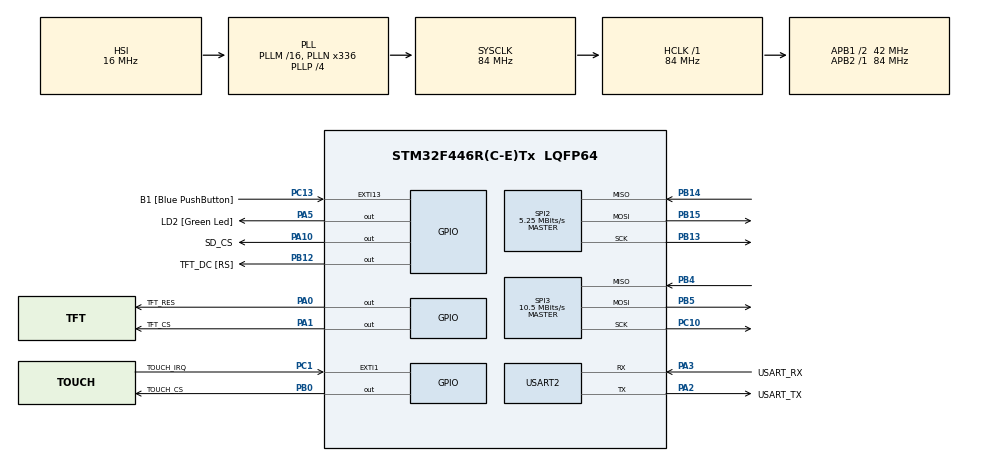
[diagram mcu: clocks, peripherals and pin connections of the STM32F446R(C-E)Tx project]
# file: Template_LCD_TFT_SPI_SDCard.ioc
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FATFS._MAX_SS=4096
FATFS._USE_LFN=1
Mcu.Family=STM32F4
Mcu.Name=STM32F446R(C-E)Tx
Mcu.Package=LQFP64
NVIC.PriorityGroup=NVIC_PRIORITYGROUP_0
PA0-WKUP.GPIO_Label=TFT_RES
PA0-WKUP.Signal=GPIO_Output
PA1.GPIO_Label=TFT_CS
PA1.GPIO_Speed=GPIO_SPEED_FREQ_HIGH
PA1.PinState=GPIO_PIN_SET
PA1.Signal=GPIO_Output
PA10.GPIO_Label=SD_CS
PA10.GPIO_Speed=GPIO_SPEED_FREQ_MEDIUM
PA10.PinState=GPIO_PIN_SET
PA10.Signal=GPIO_Output
PA13.GPIO_Label=TMS
PA13.Mode=Serial_Wire
PA13.Signal=SYS_JTMS-SWDIO
PA14.GPIO_Label=TCK
PA14.Mode=Serial_Wire
PA14.Signal=SYS_JTCK-SWCLK
PA2.GPIO_Label=USART_TX
PA2.Mode=Asynchronous
PA2.Signal=USART2_TX
PA3.GPIO_Label=USART_RX
PA3.Mode=Asynchronous
PA3.Signal=USART2_RX
PA5.GPIO_Label=LD2 [Green Led]
PA5.Signal=GPIO_Output
PB0.GPIO_Label=TOUCH_CS
PB0.GPIO_Speed=GPIO_SPEED_FREQ_HIGH
PB0.PinState=GPIO_PIN_SET
PB0.Signal=GPIO_Output
PB12.GPIO_Label=TFT_DC [RS]
PB12.GPIO_Speed=GPIO_SPEED_FREQ_HIGH
PB12.Signal=GPIO_Output
PB13.Mode=Full_Duplex_Master
PB13.Signal=SPI2_SCK
PB14.Mode=Full_Duplex_Master
PB14.Signal=SPI2_MISO
PB15.Mode=Full_Duplex_Master
PB15.Signal=SPI2_MOSI
PB4.Mode=Full_Duplex_Master
PB4.Signal=SPI3_MISO
PB5.Mode=Full_Duplex_Master
PB5.Signal=SPI3_MOSI
PC1.GPIO_Label=TOUCH_IRQ
PC1.Signal=GPXTI1
PC10.Mode=Full_Duplex_Master
PC10.Signal=SPI3_SCK
PC13.GPIO_Label=B1 [Blue PushButton]
PC13.GPIO_ModeDefaultEXTI=GPIO_MODE_IT_FALLING
PC13.Signal=GPXTI13
PC14-OSC32_IN.Mode=LSE-External-Oscillator
PC14-OSC32_IN.Signal=RCC_OSC32_IN
PC15-OSC32_OUT.Mode=LSE-External-Oscillator
PC15-OSC32_OUT.Signal=RCC_OSC32_OUT
PH0-OSC_IN.Mode=HSE-External-Oscillator
PH0-OSC_IN.Signal=RCC_OSC_IN
PH1-OSC_OUT.Mode=HSE-External-Oscillator
PH1-OSC_OUT.Signal=RCC_OSC_OUT
ProjectManager.HeapSize=0x200
ProjectManager.StackSize=0x400
ProjectManager.TargetToolchain=STM32CubeIDE
RCC.48MHZClocksFreq_Value=84000000
RCC.AHBFreq_Value=84000000
RCC.APB1CLKDivider=RCC_HCLK_DIV2
RCC.APB1Freq_Value=42000000
RCC.APB1TimFreq_Value=84000000
RCC.APB2Freq_Value=84000000
RCC.APB2TimFreq_Value=84000000
RCC.CortexFreq_Value=84000000
RCC.FLatency-AdvancedSettings=FLASH_LATENCY_2
RCC.HCLKFreq_Value=84000000
RCC.HSE_VALUE=8000000
RCC.HSI_VALUE=16000000
RCC.PLLN=336
RCC.PLLP=RCC_PLLP_DIV4
RCC.SYSCLKFreq_VALUE=84000000
RCC.SYSCLKSource=RCC_SYSCLKSOURCE_PLLCLK
RCC.USBFreq_Value=168000000
RCC.VCOOutputFreq_Value=336000000
SPI2.BaudRatePrescaler=SPI_BAUDRATEPRESCALER_8
SPI2.CalculateBaudRate=5.25 MBits/s
SPI2.Direction=SPI_DIRECTION_2LINES
SPI2.Mode=SPI_MODE_MASTER
SPI2.VirtualType=VM_MASTER
SPI3.BaudRatePrescaler=SPI_BAUDRATEPRESCALER_4
SPI3.CalculateBaudRate=10.5 MBits/s
SPI3.Direction=SPI_DIRECTION_2LINES
SPI3.Mode=SPI_MODE_MASTER
SPI3.VirtualType=VM_MASTER
USART2.VirtualMode=VM_ASYNC
VP_FATFS_VS_Generic.Mode=User_defined
board=NUCLEO-F446RE

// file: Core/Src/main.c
/* USER CODE BEGIN Header */
/**
 ******************************************************************************
 * @file           : main.c
 * @brief          : Main program body
 ******************************************************************************
 * @attention
 *
 * Copyright (c) 2024 STMicroelectronics.
 * All rights reserved.
 *
 * This software is licensed under terms that can be found in the LICENSE file
 * in the root directory of this software component.
 * If no LICENSE file comes with this software, it is provided AS-IS.
 *
 ******************************************************************************
 */
/* USER CODE END Header */
#include "main.h"
#include "fatfs.h"

/* USER CODE BEGIN Includes */
#include <string.h>
#include <stdarg.h>
#include <stdio.h>	//sprintf
#include <tft_spi_dual_driver.h>
#include "touch_spi.h"
#include "fonts.h"

//Biblioteca de ajuste de funções para o SD Card (criada por terceiro)
#include "fatfs_sd.h"
/* USER CODE END Includes */

/* USER CODE BEGIN PD */
//Definição da porta SPI do display TFT

/* USER CODE END PD */

SPI_HandleTypeDef hspi2;
SPI_HandleTypeDef hspi3;

UART_HandleTypeDef huart2;

/* USER CODE BEGIN PV */
//Imagens BMP convertidas para RGB565
extern const uint8_t playmobil_240x240[57600];

FATFS fs0, fs1;		/* Work area (filesystem object) for logical drives */
FIL fsrc, fdst;		/* File objects */
BYTE buffer[4096];   /* File copy buffer */
FRESULT fr;		/* FatFs function common result code */
UINT br, bw;		/* File read/write count */
uint32_t first;
/* USER CODE END PV */

void SystemClock_Config(void);
static void MX_GPIO_Init(void);
static void MX_USART2_UART_Init(void);
static void MX_SPI2_Init(void);
static void MX_SPI3_Init(void);
/* USER CODE BEGIN PFP */
void tft_loop(void);
void touch_loop(void);
void tft_touch_testeToque(void);
void tft_testeDriver(void);
void LCD_TxBMP(unsigned char* data, unsigned int BitmapStart);
/* USER CODE END PFP */

/* USER CODE BEGIN 0 */
void init()
{
	//Atenção: neste exemplo o display TFT e o touch screen compartilham
	//a mesma porta SPI (SPI3: CLK-Arduino D3, MISO-Ard. D5 e MOSI-Ard. D4).
	//É recomendado que o clock do touch seja menor do que 1 MHz, porque ele
	//é usado para o CAD do chip controlador do touch XPT2046.
	//Isso implica na velocidade máxima do clock para o display.
	//Caso o touch não seja usado, o clock da interface SPI pode ser aumentado
	//até 10 MHz para escrita e 6,7 MHz para leitura considerando o driver
	//de LCD TFT ILI9341.
	//SP3 prescaler = 4 -> 10,5 MHz e 64 -> 656,25 kHz

	tft_unselect();				//Desativa CS do TFT
	touch_unselect();			//Desativa CS do touch
	tft_init();					//Inicializa o display TFT
}

/* USER CODE END 0 */

int main(void)
{

  /* USER CODE BEGIN 1 */
	int32_t i;
	int32_t size;
	char texto[40];
	char nome[40];
  /* USER CODE END 1 */

  /* MCU Configuration--------------------------------------------------------*/

  /* Reset of all peripherals, Initializes the Flash interface and the Systick. */
  HAL_Init();

  /* Configure the system clock */
  SystemClock_Config();

  /* Initialize all configured peripherals */
  MX_GPIO_Init();
  MX_USART2_UART_Init();
  MX_SPI2_Init();
  MX_SPI3_Init();
  MX_FATFS_Init();
  /* USER CODE BEGIN 2 */
  HAL_Delay(1000);
  init();	//Inicializa do TFT e o touch
  tft_setRotation(0);				//Ajusta a orientação da tela
  tft_fillScreen(BLACK);		//Preenche a tela em uma só cor
  //Mensagem de texto
  tft_printNewStr(20, YELLOW, &mono12x7bold, 1,
  							(uint8_t *)"Teste SD Card");

  //Colar os exemplos aqui-------------------------------------------

  //=================================================================
  //Exemplo de CRIAÇÃO e ESCRITA ====================================
  //=================================================================
//  size = sprintf(texto, "Exemplo de CRIACAO e ESCRITA\r\n");
//  HAL_UART_Transmit(&huart2, (uint8_t *)texto, size, 100);
//
//  //Prepara a área de trabalho para o FatFs
//  fr = f_mount(&fs0, "", 0);
//  if(fr != FR_OK)
//  {
//  	size = sprintf(texto, "f_mount error: %d\r\n", (int)fr);
//  	HAL_UART_Transmit(&huart2, (uint8_t *)texto, size, 100);
//
//  	tft_printNewStr(100, RED, &mono12x7bold, 1,
//  			(uint8_t *)"Falha!!!");
//  	return 1;
//  }
//
//  //Cria um arquivo
//  fr = f_open(&fsrc, "newfile.txt", FA_WRITE | FA_CREATE_ALWAYS);	/* Cria o arquivo */
//  if (fr == FR_OK)
//  {
//  	f_write(&fsrc, "Funcionou!\r\n", 11, &bw);	/* Escreve dados no arquivo */
//  	fr = f_close(&fsrc);												/* Fecha o arquivo */
//
//  	if (fr == FR_OK)
//  	{
//  		size = sprintf(texto, "Arquivo criado com sucesso\r\n");
//  		HAL_UART_Transmit(&huart2, (uint8_t *)texto, size, 100);
//
//  		tft_printNewStr(100, GREEN, &mono12x7bold, 1,
//  				(uint8_t *)"Sucesso!!!");
//  	}
//  }
//  else
//  {
//  	size = sprintf(texto, "f_open error: %d\r\n", (int)fr);
//  	HAL_UART_Transmit(&huart2, (uint8_t *)texto, size, 100);
//
//  	tft_printNewStr(100, RED, &mono12x7bold, 1,
//  			(uint8_t *)"Falha!!!");
//  	return 1;
//  }

	//=================================================================
	//Exemplo de LEITURA ==============================================
	//=================================================================
//  size = sprintf(texto, "Exemplo de LEITURA\r\n");
//  HAL_UART_Transmit(&huart2, (uint8_t *)texto, size, 100);
//
//  //Prepara a área de trabalho para o FatFs
//  fr = f_mount(&fs0, "", 0);
//	if(fr != FR_OK)
//	{
//		size = sprintf(texto, "f_mount error: %d\r\n", (int)fr);
//		HAL_UART_Transmit(&huart2, (uint8_t *)texto, size, 100);
//
//		tft_printNewStr(100, RED, &mono12x7bold, 1,
//					   	 	 (uint8_t *)"Falha!!!");
//		return 1;
//	}
//
//	//Lê um arquivo
//	buffer[0] = 0;
//	strcpy(nome, "newfile.txt");
//	//strcpy(nome, "texto/Teste.txt");
//	fr = f_open(&fsrc, nome, FA_READ);
//  if(fr == FR_OK)
//  {
//  	//Entra em um loop de leitura de dados do arquivo e escrita na serial e LCD
//  	//até alcançar o fim do arquivo
//  	do
//  	{
//  		//Lê um bloco de dados do arquivo. Lê o tanto que cabe no buffer,
//  		//incluindo espaços e carcteres nulos
//  		fr = f_read(&fsrc, 				/* [IN] File object */
//  				buffer, 							/* [OUT] Buffer to store read data */
//					sizeof(buffer) - 1,		/* [IN] Number of bytes to read */
//					(UINT *)&br);					/* [OUT] Number of bytes read */
//
//  		//Se houver algum erro na leitura, retorna o erro ao usuário
//  		if(fr != FR_OK)
//  		{
//  			size = sprintf(texto, "f_read error: %d\r\n", (int)fr);
//  			HAL_UART_Transmit(&huart2, (uint8_t *)texto, size, 100);
//
//  			tft_printNewStr(100, RED, &mono12x7bold, 1,
//  					(uint8_t *)"Falha!!!");
//  			break;
//  		}
//
//  		//Finaliza a string com um nulo
//  		buffer[br] = 0;
//
//  		//Escreve na serial o último pedaço de arquivo lido
//  		size = br;
//  		HAL_UART_Transmit(&huart2, (uint8_t *)buffer, size, 1000);
//
//  		//Escreve no LCD os últimos 16 caracteres lidos
//  		tft_printNewStr(150, WHITE, &mono12x7bold, 1,
//  				(uint8_t *)"Leitura (<=16):");
//  		if(br>16)	buffer[16] = '\0';
//  		else			buffer[br] = '\0';
//  		tft_printNewStr(200, WHITE, &mono12x7bold, 1,
//  				(uint8_t *)buffer);
//  	}
//  	while(br == sizeof(buffer) - 1);
//  	//Repete até a quantidade lida for menor que o buffer, indicação que acabou o arquivo (último pacote)
//  }
//  if (fr == FR_OK)
//  {
//  	size = sprintf(texto, "\r\nArquivo lido com sucesso\r\n");
//  	HAL_UART_Transmit(&huart2, (uint8_t *)texto, size, 100);
//
//  	tft_printNewStr(100, GREEN, &mono12x7bold, 1,
//  			(uint8_t *)"Sucesso!!!");
//  }

  //=================================================================
  //Exemplo de LEITURA de arquivo BINÁRIO============================
  //=================================================================
//  size = sprintf(texto, "Exemplo de LEITURA de arquivo BINARIO\r\n");
//  HAL_UART_Transmit(&huart2, (uint8_t *)texto, size, 100);
//
//  //Prepara a área de trabalho para o FatFs
//  fr = f_mount(&fs0, "", 0);
//  if(fr != FR_OK)
//  {
//  	size = sprintf(texto, "f_mount error: %d\r\n", (int)fr);
//  	HAL_UART_Transmit(&huart2, (uint8_t *)texto, size, 100);
//
//  	tft_printNewStr(100, RED, &mono12x7bold, 1,
//  			(uint8_t *)"Falha!!!");
//  	return 1;
//  }
//
//  //Lê um arquivo
//  buffer[0] = 0;
//  strcpy(nome, "newfile.txt");
//  //strcpy(nome, "texto/Teste.txt");
//  fr = f_open(&fsrc, nome, FA_READ);
//  if(fr == FR_OK)
//  {
//  	//Entra em um loop de leitura de dados do arquivo e escrita na serial e LCD
//  	//até alcançar o fim do arquivo
//  	do
//  	{
//  		//Lê um bloco de dados do arquivo. Lê o tanto que cabe no buffer,
//  		//incluindo espaços e carcteres nulos
//  		fr = f_read(&fsrc, 				/* [IN] File object */
//  				buffer, 							/* [OUT] Buffer to store read data */
//					sizeof(buffer) - 1,		/* [IN] Number of bytes to read */
//					(UINT *)&br);					/* [OUT] Number of bytes read */
//
//  		//Se houver algum erro na leitura, retorna o erro ao usuário
//  		if(fr != FR_OK)
//  		{
//  			size = sprintf(texto, "f_read error: %d\r\n", (int)fr);
//  			HAL_UART_Transmit(&huart2, (uint8_t *)texto, size, 100);
//
//  			tft_printNewStr(100, RED, &mono12x7bold, 1,
//  					(uint8_t *)"Falha!!!");
//  			break;
//  		}
//
//  		//Finaliza a string com um nulo
//  		buffer[br] = 0;
//
//  		//Escreve na serial o último pedaço de arquivo lido
//  		for (i = 0; i < br; i++)
//  		{
//  			size = sprintf(texto, "%02X ",buffer[i]);
//  			HAL_UART_Transmit(&huart2, (uint8_t *)texto, size, 1000);
//  		}
//
//
//  		//Escreve no LCD os últimos 16 caracteres lidos
//  		tft_printNewStr(150, WHITE, &mono12x7bold, 1,
//  				(uint8_t *)"Leitura Bi (<=8):");
//  		i = 0;
//  		size = sprintf(texto, "%02X",buffer[i++]);
//  		//1os caracteres
//  		tft_printNewStr(200, WHITE, &mono12x7bold, 1,
//  				(uint8_t *)texto);
//  		//Demais caracteres
//  		while(i < 8 && i < br)
//  		{
//  			size = sprintf(texto, "%02X",buffer[i++]);
//  			tft_printStr((uint8_t *)texto);
//  		}
//  	}
//  	while(br == sizeof(buffer) - 1);
//  	//Repete até a quantidade lida for menor que o buffer, indicação que acabou o arquivo (último pacote)
//  }
//  if (fr == FR_OK)
//  {
//  	size = sprintf(texto, "\r\nArquivo lido com sucesso\r\n");
//  	HAL_UART_Transmit(&huart2, (uint8_t *)texto, size, 100);
//
//  	tft_printNewStr(100, GREEN, &mono12x7bold, 1,
//  			(uint8_t *)"Sucesso!!!");
//  }

  //=================================================================
  //Exemplo de LEITURA de BITMAP e escrita no LCD====================
  //=================================================================
  size = sprintf(texto, "Exemplo de LEITURA de BITMAP e escrita no LCD\r\n");
  HAL_UART_Transmit(&huart2, (uint8_t *)texto, size, 100);

  //Prepara a área de trabalho para o FatFs
  fr = f_mount(&fs0, "", 0);
  if(fr != FR_OK)
  {
  	size = sprintf(texto, "f_mount error: %d\r\n", (int)fr);
  	HAL_UART_Transmit(&huart2, (uint8_t *)texto, size, 100);

  	tft_printNewStr(100, RED, &mono12x7bold, 1,
  			(uint8_t *)"Falha!!!");
  	return 1;
  }

  while(1)
  {
  	//========= 1a imagem ===========================================

  	//Primeiro bloco de dados, onde está o cabeçalho do BMP
  	first = 1;

  	//"Limpa" o buffer
  	buffer[0] = 0;

  	//Define o nome do arquivo BMP 24 bits a ser aberto
  	strcpy(nome, "Imagens/Homerinv.bmp");
  	//strcpy(buffer, "Imagens/Lisa.bmp");

  	//Abre o arquivo como leitura
  	fr = f_open(&fsrc, nome, FA_READ);

  	//Se teve sucesso
  	if(fr == FR_OK)
  	{
  		//Loop de leitura de setores (512 bytes), lê até acabar o arquivo
  		do
  		{
  			//Lê um setor do arquivo e armazena no buffer temporário
  			fr = f_read(&fsrc, 		/* [IN] File object */
  					buffer,			/* [OUT] Buffer to store read data */
						512,				/* [IN] Number of bytes to read */
						(UINT *)&br);		/* [OUT] Number of bytes read */

  			//Se ocorrer algum erro mostra na UART e aborta
  			if(fr != FR_OK)
  			{
  				size = sprintf(texto, "f_read error: %d\r\n", (int)fr);
  				HAL_UART_Transmit(&huart2, (uint8_t *)texto, size, 100);
  			}

  			//Termina o bloco lido com um caractere nulo (sem efeito para o LCD)
  			buffer[br] = 0;

  			//Envia byte a byte em hexa pela UART
  			//				for (i = 0; i < br; i++)
  			//				{
  			//					size = sprintf(texto, "%02X ",buffer[i]);
  			//					HAL_UART_Transmit(&huart2, (uint8_t *)texto, size, 1000);
  			//				}

  			//Envia o setor para o LCD
  			LCD_TxBMP((unsigned char*)buffer, first);

  			//Limpa a flag de primeiro setor (cabeçalho nos primeiros 54 bytes)
  			first = 0;

  		}
  		while(br == 512);
  		//Repete até a quantidade lida for menor que o buffer, indicação que acabou o arquivo (último pacote)

  		//Fecha o arquivo (não é necessário para leitura, mas recomendado para compatibilidade futura)
  		fr = f_close(&fsrc);
  		//Se teve sucesso
  		if (fr == FR_OK)
  		{
  			size = sprintf(texto, "\r\nArquivo fechado com sucesso\r\n");
  			HAL_UART_Transmit(&huart2, (uint8_t *)texto, size, 100);
  		}
  	}

  	if (fr == FR_OK)
  	{
  		size = sprintf(texto, "\r\nArquivo 1 lido com sucesso\r\n");
  		HAL_UART_Transmit(&huart2, (uint8_t *)texto, size, 100);
  	}

  	HAL_Delay(3000);

  	tft_printNewStr(200, YELLOW, &mono12x7bold, 1,
  			(uint8_t *)" Escrita no LCD ");
  	tft_printNewStr(220, YELLOW, &mono12x7bold, 1,
  			(uint8_t *)" apos acesso ao ");
  	tft_printNewStr(240, YELLOW, &mono12x7bold, 1,
  			(uint8_t *)" SD Card ");

  	HAL_Delay(2000);

  	tft_fillScreen(BLUE);

  	HAL_Delay(2000);

  	//========= 2a imagem ===========================================

  	//Primeiro bloco de dados, onde está o cabeçalho do BMP
  	first = 1;

  	//"Limpa" o buffer
  	buffer[0] = 0;

  	//Define o nome do arquivo BMP 24 bits a ser aberto
  	strcpy(nome, "Imagens/Homer2in.bmp");
  	//strcpy(buffer, "Imagens/Lisa.bmp");

  	//Abre o arquivo como leitura
  	fr = f_open(&fsrc, nome, FA_READ);

  	//Se teve sucesso
  	if(fr == FR_OK)
  	{
  		//Loop de leitura de setores (512 bytes), lê até acabar o arquivo
  		do
  		{
  			//Lê um setor do arquivo e armazena no buffer temporário
  			fr = f_read(&fsrc, 					/* [IN] File object */
  					buffer,					/* [OUT] Buffer to store read data */
						512,						/* [IN] Number of bytes to read */
						(UINT *)&br);		/* [OUT] Number of bytes read */

  			//Se ocorrer algum erro mostra na UART e aborta
  			if(fr != FR_OK)
  			{
  				size = sprintf(texto, "f_mount error: %d\r\n", (int)fr);
  				HAL_UART_Transmit(&huart2, (uint8_t *)texto, size, 100);
  			}

  			//Termina o bloco lido com um caractere nulo (sem efeito para o LCD)
  			buffer[br] = 0;

  			//Envia byte a byte em hexa pela UART
  			//				for (i = 0; i < br; i++)
  			//				{
  			//					size = sprintf(texto, "%02X ",buffer[i]);
  			//					HAL_UART_Transmit(&huart2, (uint8_t *)texto, size, 1000);
  			//				}

  			//Envia o setor para o LCD
  			LCD_TxBMP((unsigned char*)buffer, first);

  			//Limpa a flag de primeiro setor (cabeçalho nos primeiros 54 bytes)
  			first = 0;

  		}
  		while(br == 512);
  		//Repete até a quantidade lida for menor que o buffer, indicação que acabou o arquivo (último pacote)

  		//Fecha o arquivo (não é necessário para leitura, mas recomendado para compatibilidade futura)
  		fr = f_close(&fsrc);
  		//Se teve sucesso
  		if (fr == FR_OK)
  		{
  			size = sprintf(texto, "\r\nArquivo fechado com sucesso\r\n");
  			HAL_UART_Transmit(&huart2, (uint8_t *)texto, size, 100);
  		}
  	}

  	if (fr == FR_OK)
  	{
  		size = sprintf(texto, "\r\nArquivo 2 lido com sucesso\r\n");
  		HAL_UART_Transmit(&huart2, (uint8_t *)texto, size, 100);
  	}

  	HAL_Delay(3000);

  	tft_printNewStr(200, YELLOW, &mono12x7bold, 1,
  			(uint8_t *)" Escrita no LCD ");
  	tft_printNewStr(220, YELLOW, &mono12x7bold, 1,
  			(uint8_t *)" apos acesso ao ");
  	tft_printNewStr(240, YELLOW, &mono12x7bold, 1,
  			(uint8_t *)" SD Card ");

  	HAL_Delay(2000);

  	tft_fillScreen(BLACK);

  	HAL_Delay(2000);
  }

  //-----------------------------------------------------------------
  /* USER CODE END 2 */

  /* Infinite loop */
	while (1)
	{

	}
}

void SystemClock_Config(void)
{
  RCC_OscInitTypeDef RCC_OscInitStruct = {0};
  RCC_ClkInitTypeDef RCC_ClkInitStruct = {0};

  /** Configure the main internal regulator output voltage
  */
  __HAL_RCC_PWR_CLK_ENABLE();
  __HAL_PWR_VOLTAGESCALING_CONFIG(PWR_REGULATOR_VOLTAGE_SCALE3);

  /** Initializes the RCC Oscillators according to the specified parameters
  * in the RCC_OscInitTypeDef structure.
  */
  RCC_OscInitStruct.OscillatorType = RCC_OSCILLATORTYPE_HSI;
  RCC_OscInitStruct.HSIState = RCC_HSI_ON;
  RCC_OscInitStruct.HSICalibrationValue = RCC_HSICALIBRATION_DEFAULT;
  RCC_OscInitStruct.PLL.PLLState = RCC_PLL_ON;
  RCC_OscInitStruct.PLL.PLLSource = RCC_PLLSOURCE_HSI;
  RCC_OscInitStruct.PLL.PLLM = 16;
  RCC_OscInitStruct.PLL.PLLN = 336;
  RCC_OscInitStruct.PLL.PLLP = RCC_PLLP_DIV4;
  RCC_OscInitStruct.PLL.PLLQ = 2;
  RCC_OscInitStruct.PLL.PLLR = 2;
  if (HAL_RCC_OscConfig(&RCC_OscInitStruct) != HAL_OK)
  {
    Error_Handler();
  }

  /** Initializes the CPU, AHB and APB buses clocks
  */
  RCC_ClkInitStruct.ClockType = RCC_CLOCKTYPE_HCLK|RCC_CLOCKTYPE_SYSCLK
                              |RCC_CLOCKTYPE_PCLK1|RCC_CLOCKTYPE_PCLK2;
  RCC_ClkInitStruct.SYSCLKSource = RCC_SYSCLKSOURCE_PLLCLK;
  RCC_ClkInitStruct.AHBCLKDivider = RCC_SYSCLK_DIV1;
  RCC_ClkInitStruct.APB1CLKDivider = RCC_HCLK_DIV2;
  RCC_ClkInitStruct.APB2CLKDivider = RCC_HCLK_DIV1;

  if (HAL_RCC_ClockConfig(&RCC_ClkInitStruct, FLASH_LATENCY_2) != HAL_OK)
  {
    Error_Handler();
  }
}

static void MX_SPI2_Init(void)
{

  /* SPI2 parameter configuration*/
  hspi2.Instance = SPI2;
  hspi2.Init.Mode = SPI_MODE_MASTER;
  hspi2.Init.Direction = SPI_DIRECTION_2LINES;
  hspi2.Init.DataSize = SPI_DATASIZE_8BIT;
  hspi2.Init.CLKPolarity = SPI_POLARITY_LOW;
  hspi2.Init.CLKPhase = SPI_PHASE_1EDGE;
  hspi2.Init.NSS = SPI_NSS_SOFT;
  hspi2.Init.BaudRatePrescaler = SPI_BAUDRATEPRESCALER_8;
  hspi2.Init.FirstBit = SPI_FIRSTBIT_MSB;
  hspi2.Init.TIMode = SPI_TIMODE_DISABLE;
  hspi2.Init.CRCCalculation = SPI_CRCCALCULATION_DISABLE;
  hspi2.Init.CRCPolynomial = 10;
  if (HAL_SPI_Init(&hspi2) != HAL_OK)
  {
    Error_Handler();
  }

}

static void MX_SPI3_Init(void)
{

  /* SPI3 parameter configuration*/
  hspi3.Instance = SPI3;
  hspi3.Init.Mode = SPI_MODE_MASTER;
  hspi3.Init.Direction = SPI_DIRECTION_2LINES;
  hspi3.Init.DataSize = SPI_DATASIZE_8BIT;
  hspi3.Init.CLKPolarity = SPI_POLARITY_LOW;
  hspi3.Init.CLKPhase = SPI_PHASE_1EDGE;
  hspi3.Init.NSS = SPI_NSS_SOFT;
  hspi3.Init.BaudRatePrescaler = SPI_BAUDRATEPRESCALER_4;
  hspi3.Init.FirstBit = SPI_FIRSTBIT_MSB;
  hspi3.Init.TIMode = SPI_TIMODE_DISABLE;
  hspi3.Init.CRCCalculation = SPI_CRCCALCULATION_DISABLE;
  hspi3.Init.CRCPolynomial = 10;
  if (HAL_SPI_Init(&hspi3) != HAL_OK)
  {
    Error_Handler();
  }

}

static void MX_USART2_UART_Init(void)
{

  huart2.Instance = USART2;
  huart2.Init.BaudRate = 115200;
  huart2.Init.WordLength = UART_WORDLENGTH_8B;
  huart2.Init.StopBits = UART_STOPBITS_1;
  huart2.Init.Parity = UART_PARITY_NONE;
  huart2.Init.Mode = UART_MODE_TX_RX;
  huart2.Init.HwFlowCtl = UART_HWCONTROL_NONE;
  huart2.Init.OverSampling = UART_OVERSAMPLING_16;
  if (HAL_UART_Init(&huart2) != HAL_OK)
  {
    Error_Handler();
  }

}

static void MX_GPIO_Init(void)
{
  GPIO_InitTypeDef GPIO_InitStruct = {0};

  /* GPIO Ports Clock Enable */
  __HAL_RCC_GPIOC_CLK_ENABLE();
  __HAL_RCC_GPIOH_CLK_ENABLE();
  __HAL_RCC_GPIOA_CLK_ENABLE();
  __HAL_RCC_GPIOB_CLK_ENABLE();

  /*Configure GPIO pin Output Level */
  HAL_GPIO_WritePin(GPIOA, TFT_RES_Pin|LD2_Pin, GPIO_PIN_RESET);

  /*Configure GPIO pin Output Level */
  HAL_GPIO_WritePin(GPIOA, TFT_CS_Pin|SD_CS_Pin, GPIO_PIN_SET);

  /*Configure GPIO pin Output Level */
  HAL_GPIO_WritePin(TOUCH_CS_GPIO_Port, TOUCH_CS_Pin, GPIO_PIN_SET);

  /*Configure GPIO pin Output Level */
  HAL_GPIO_WritePin(TFT_DC_GPIO_Port, TFT_DC_Pin, GPIO_PIN_RESET);

  /*Configure GPIO pin : B1_Pin */
  GPIO_InitStruct.Pin = B1_Pin;
  GPIO_InitStruct.Mode = GPIO_MODE_IT_FALLING;
  GPIO_InitStruct.Pull = GPIO_NOPULL;
  HAL_GPIO_Init(B1_GPIO_Port, &GPIO_InitStruct);

  /*Configure GPIO pin : TOUCH_IRQ_Pin */
  GPIO_InitStruct.Pin = TOUCH_IRQ_Pin;
  GPIO_InitStruct.Mode = GPIO_MODE_IT_RISING;
  GPIO_InitStruct.Pull = GPIO_NOPULL;
  HAL_GPIO_Init(TOUCH_IRQ_GPIO_Port, &GPIO_InitStruct);

  /*Configure GPIO pins : TFT_RES_Pin LD2_Pin */
  GPIO_InitStruct.Pin = TFT_RES_Pin|LD2_Pin;
  GPIO_InitStruct.Mode = GPIO_MODE_OUTPUT_PP;
  GPIO_InitStruct.Pull = GPIO_NOPULL;
  GPIO_InitStruct.Speed = GPIO_SPEED_FREQ_LOW;
  HAL_GPIO_Init(GPIOA, &GPIO_InitStruct);

  /*Configure GPIO pin : TFT_CS_Pin */
  GPIO_InitStruct.Pin = TFT_CS_Pin;
  GPIO_InitStruct.Mode = GPIO_MODE_OUTPUT_PP;
  GPIO_InitStruct.Pull = GPIO_NOPULL;
  GPIO_InitStruct.Speed = GPIO_SPEED_FREQ_HIGH;
  HAL_GPIO_Init(TFT_CS_GPIO_Port, &GPIO_InitStruct);

  /*Configure GPIO pins : TOUCH_CS_Pin TFT_DC_Pin */
  GPIO_InitStruct.Pin = TOUCH_CS_Pin|TFT_DC_Pin;
  GPIO_InitStruct.Mode = GPIO_MODE_OUTPUT_PP;
  GPIO_InitStruct.Pull = GPIO_NOPULL;
  GPIO_InitStruct.Speed = GPIO_SPEED_FREQ_HIGH;
  HAL_GPIO_Init(GPIOB, &GPIO_InitStruct);

  /*Configure GPIO pin : SD_CS_Pin */
  GPIO_InitStruct.Pin = SD_CS_Pin;
  GPIO_InitStruct.Mode = GPIO_MODE_OUTPUT_PP;
  GPIO_InitStruct.Pull = GPIO_NOPULL;
  GPIO_InitStruct.Speed = GPIO_SPEED_FREQ_MEDIUM;
  HAL_GPIO_Init(SD_CS_GPIO_Port, &GPIO_InitStruct);

}

/* USER CODE BEGIN 4 */

static void tft_delay(uint32_t ms)
{
    HAL_Delay(ms);
}

void tft_loop(void)
{
	//Check border
	tft_fillScreen(TFT_BLACK);

	for(int x = 0; x < TFT_WIDTH; x++)
	{
		tft_drawPixel(x, 0, TFT_RED);
		tft_drawPixel(x, TFT_HEIGHT-1, TFT_RED);
	}

	for(int y = 0; y < TFT_HEIGHT; y++)
	{
		tft_drawPixel(0, y, TFT_RED);
		tft_drawPixel(TFT_WIDTH-1, y, TFT_RED);
	}

	HAL_Delay(1000);

	//Check font
	tft_fillScreen(TFT_BLACK);
	tft_printNewStr(20, TFT_RED, &mono12x7, 1, "Oi mundo!");
	tft_printNewStr(40, TFT_GREEN, &mono12x7, 1, "Oi mundo!");
	tft_printNewStr(60, TFT_BLUE, &mono12x7, 1, "Oi mundo!");

	HAL_Delay(1000);
	tft_invertDisplay(true);
	HAL_Delay(1000);
	tft_invertDisplay(false);

	HAL_Delay(2000);

	//Check colors
	tft_fillScreen(TFT_WHITE);
	tft_printNewStr(20, TFT_RED, &mono12x7, 1, "WHITE");
	HAL_Delay(500);

	tft_fillScreen(TFT_BLUE);
	tft_printNewStr(20, TFT_WHITE, &mono12x7, 1, "BLUE");
	HAL_Delay(500);

	tft_fillScreen(TFT_RED);
	tft_printNewStr(20, TFT_WHITE, &mono12x7, 1, "RED");
	HAL_Delay(500);

	tft_fillScreen(TFT_GREEN);
	tft_printNewStr(20, TFT_WHITE, &mono12x7, 1, "GREEN");
	HAL_Delay(500);

	tft_fillScreen(TFT_CYAN);
	tft_printNewStr(20, TFT_BLACK, &mono12x7, 1, "CYAN");
	HAL_Delay(500);

	tft_fillScreen(TFT_MAGENTA);
	tft_printNewStr(20, TFT_BLACK, &mono12x7, 1, "MAGENTA");
	HAL_Delay(500);

	tft_fillScreen(TFT_YELLOW);
	tft_printNewStr(20, TFT_BLACK, &mono12x7, 1, "YELLOW");
	HAL_Delay(500);

	tft_fillScreen(TFT_BLACK);
	tft_printNewStr(20, TFT_WHITE, &mono12x7, 1, "BLACK");
	HAL_Delay(500);

	tft_drawImage(0,0,240,240,(const uint16_t*)playmobil_240x240);
	HAL_Delay(2000);
}

void touch_loop(void)
{
  uint16_t x, y, xm, xM, ym, yM;
  char str[50];
  uint16_t size;

  if(touch_getCoordinates(&x, &y))
//  if(touch_getRawCoordinates(&x, &y))	//Usar para calibração
  {
  	size = sprintf(str, "x: %i     ", x);
  	HAL_UART_Transmit(&huart2, str, size, 100);

  	size = sprintf(str, "y: %i\r\n", y);
  	HAL_UART_Transmit(&huart2, str, size, 100);

  	//Usar para calibração
//  	touch_getRawMinMaxCoordenadtes(&xm, &xM, &ym, &yM);
//  	size = sprintf(str, "xm: %i\txM: %i\t ym: %i\t yM: %i\r\n", xm, xM, ym, yM);
//  	HAL_UART_Transmit(&huart2, str, size, 100);
  }
  else
  {
  	HAL_UART_Transmit(&huart2, "Not pressed\r\n", 13, 100);
  }

  HAL_Delay(250);
}

void tft_touch_testeToque(void)
{
	uint16_t x, y;
	char str[50];
	uint16_t size;

	tft_setRotation(0);
	tft_fillScreen(TFT_WHITE);
	tft_setFont(&mono12x7bold);
	tft_setTextBackColor(TFT_WHITE);
	tft_setTextColor(TFT_BLACK);

	while(1)
	{
		if(touch_getCoordinates(&x, &y))
		{
			//Como as coordenas do touch crescem da esquerda para direita,
			//de baixo para cima, as coordenadas y devem ser invertidas para
			//se adequarem a orientação do eixo y do display
			y = (320 - 1) - y;
			tft_drawCircle(x, y, 4, TFT_RED);
			tft_setCursor(15, 15);
			size = sprintf(str, "X = %i\t Y = %i    ", x, y);
			tft_printStr_bc(str);
		}
		HAL_Delay(250);
	}
}

void tft_testeDriver(void)
{
    uint16_t w = 0;
    uint16_t h = 0;

    //Funções de teste do LCD (tirar para teste do touch)
    tft_testfillScreen();
    tft_testLines(CYAN);
    tft_testFastLines(RED, BLUE);
    tft_testFilledCircles(10, MAGENTA);
    tft_testCircles(10, WHITE);
    tft_fillScreen(BLACK);

    /* Fundo */
    tft_fillScreen(BLACK);
    tft_delay(300);

    /* Identificação visual */
    tft_setCursor(5, 20);
    tft_setTextColor(WHITE);
    tft_setTextBackColor(BLACK);
    tft_setTextSize(1);
    tft_printStr((uint8_t *)"TFT DRIVER TEST");

    tft_setCursor(5, 40);
    tft_setTextColor(CYAN);
    tft_printStr((uint8_t *)"Testing shapes and colors");

    tft_delay(300);

    /* Linhas coloridas em diagonal */
    tft_fillScreen(BLACK);
    for (int16_t i = 0; i < 240; i += 20) {
        tft_drawLine(0, 0, i, 319, RED);
        tft_drawLine(0, 319, i, 0, GREEN);
        tft_drawLine(0, i, 239, 319 - i, BLUE);
        tft_drawLine(239, i, 0, 319 - i, YELLOW);
    }
    tft_delay(600);

    /* Linhas horizontais e verticais */
    tft_fillScreen(BLACK);
    for (int16_t y = 0; y < 320; y += 20) {
        tft_drawFastHLine(0, y, 240, CYAN);
    }
    for (int16_t x = 0; x < 240; x += 20) {
        tft_drawFastVLine(x, 0, 320, MAGENTA);
    }
    tft_delay(600);

    /* Retângulos */
    tft_fillScreen(BLACK);
    for (int16_t i = 0; i < 100; i += 12) {
        tft_drawRect(i, i, 240 - 2 * i, 320 - 2 * i, RED);
        tft_drawRect(i + 2, i + 2, 240 - 2 * i - 4, 320 - 2 * i - 4, GREEN);
        tft_drawRect(i + 4, i + 4, 240 - 2 * i - 8, 320 - 2 * i - 8, BLUE);
    }
    tft_delay(600);

    /* Retângulos preenchidos */
    tft_fillScreen(BLACK);
    tft_fillRect(10, 10, 60, 40, RED);
    tft_fillRect(80, 20, 100, 50, GREEN);
    tft_fillRect(30, 80, 150, 60, BLUE);
    tft_fillRect(60, 160, 120, 80, CYAN);
    tft_fillRect(20, 250, 180, 50, YELLOW);
    tft_delay(600);

    /* Cantos arredondados */
    tft_fillScreen(BLACK);
    tft_drawRoundRect(10, 10, 220, 80, 15, RED);
    tft_drawRoundRect(20, 100, 200, 90, 20, GREEN);
    tft_drawRoundRect(30, 200, 180, 100, 25, BLUE);
    tft_fillRoundRect(35, 215, 170, 70, 18, MAGENTA);
    tft_delay(600);

    /* Círculos */
    tft_fillScreen(BLACK);
    tft_drawCircle(60, 60, 30, RED);
    tft_drawCircle(180, 60, 40, GREEN);
    tft_fillCircle(60, 160, 35, BLUE);
    tft_fillCircle(180, 170, 45, YELLOW);
    tft_drawCircleHelper(120, 250, 35, 0x0F, CYAN);
    tft_fillCircleHelper(120, 250, 25, 0x03, 10, MAGENTA);
    tft_delay(600);

    /* Triângulos */
    tft_fillScreen(BLACK);
    tft_drawTriangle(20, 20, 120, 20, 70, 100, RED);
    tft_drawTriangle(140, 20, 220, 100, 100, 120, GREEN);
    tft_fillTriangle(30, 150, 100, 250, 10, 260, BLUE);
    tft_fillTriangle(140, 150, 220, 250, 180, 300, CYAN);
    tft_delay(600);

    /* Mistura de tudo */
    tft_fillScreen(BLACK);
    tft_drawRect(5, 5, 230, 310, WHITE);
    tft_drawLine(0, 0, 239, 319, RED);
    tft_drawLine(239, 0, 0, 319, GREEN);
    tft_drawCircle(120, 160, 70, BLUE);
    tft_fillCircle(120, 160, 35, YELLOW);
    tft_drawRoundRect(20, 40, 200, 240, 20, CYAN);
    tft_fillTriangle(40, 280, 200, 280, 120, 180, MAGENTA);

    tft_setCursor(10, 290);
    tft_setTextColor(WHITE);
    tft_setTextBackColor(BLACK);
    tft_setTextSize(1);
    tft_printStr((uint8_t *)"END OF TEST");
    tft_delay(1000);
    tft_scrollup(10);
    tft_delay(1000);
    tft_scrolldown(10);
    tft_delay(1000);
    tft_invertDisplay(1);
    tft_setRotation(0);
    tft_fillRect(100, 0, 100, 50, WHITE);
    tft_delay(500);
    tft_setRotation(90);
    tft_fillRect(100, 0, 100, 50, RED);
    tft_delay(500);
    tft_setRotation(180);
    tft_fillRect(100, 0, 100, 50, GREEN);
    tft_delay(500);
    tft_setRotation(270);
    tft_fillRect(100, 0, 100, 50, BLUE);
    tft_delay(500);
    tft_invertDisplay(0);
}

//Envia uma string como um bitmp para o LCD TFT
//Recebe: String com 512 bytes (1 setor de arquivo) que fazem parte da imagem
//				Flag que sinaliza se é o primeiro setor (onde está o cabeçalho)
void LCD_TxBMP(unsigned char* data, unsigned int BitmapStart)
{
	static unsigned int tamanho = 0;
	static unsigned char sobrou[3] = {0,0,0};
	unsigned int i = 0;
	unsigned int setor = 512;
	unsigned short int cor;
	unsigned char tam[11];
	//Leandro (22/09/2020) - Ajuste para ler imagens com dimensões maiores que um byte (320x240)
//	unsigned char altura, x = 0, y = 127, bits_por_pixel;
	unsigned char bits_por_pixel;
//	unsigned int altura, x = 0, y = 239;	//Formato "paisagem"
	unsigned int altura, x = 0, y = 319;	//Formato "retrato"
//	const unsigned int lim_altura = 240, lim_largura = 320;	//Formato "paisagem" - enviar comando setRotation(1);
	const unsigned int lim_altura = 320, lim_largura = 240;	//Formato "retrato"	- enviar comando setRotation(0);
//	static unsigned char largura = 0, erro_bits = 0, bytes_extras = 0, pixels_por_linha = 0;
	static unsigned int largura = 0, pixels_por_linha = 0;
	static unsigned char erro_bits = 0, bytes_extras = 0;

	//Se é o primeiro setor do arquivo, possui o cabeçalho
	if(BitmapStart)
	{
		BitmapStart = 0;

		//Reseta variável estática
		pixels_por_linha = 0;

		//Pula o cabeçalho
		i = 54;
		//Lê o tamanho da área de dados do arquivo em bytes
		tamanho = data[0x22] + (unsigned int)(data[0x23]<<8) + (unsigned int)(data[0x24]<<16) + (unsigned int)(data[0x25]<<24);
		//Leandro (22/09/2020) - Ajuste para ler imagens com dimensões maiores que um byte (320x240)
//		//Leandro (01/09/2019) - Lê a largura e a altura da imagem para definir o tamanho da janela
//		largura = data[18];
//		altura = data[22];
		largura = data[18] + (unsigned int)(data[19]<<8);
		altura = data[22] + (unsigned int)(data[23]<<8);
		//Configura a janela
		tft_setAddrWindow(x, y-altura+1, x+largura-1, y);
		//Envia para o LCD sinalização de início de envio de dados
		tft_inicioDados();
		//Verifica se existirão bytes extras no arquivo em função da largura da imagem
		//Obervação: Existe uma restrição de que cada linha deva ter N bytes, sendo N um número
		//divisível por 4. Caso contrário, o BMP deve ser preenchido com bytes não válidos. Por
		//exemplo, se a imagem tem 1 x 100 pixels em 24 bits/pixel, o BMP teria 3 bytes válidos em
		//cada linha e mais 1 byte que não tem qualquer significado.
		switch((largura*3)%4)
		{
			case 1: bytes_extras = 3; break;
			case 2: bytes_extras = 2; break;
			case 3: bytes_extras = 1; break;
			default: bytes_extras = 0; break;
		}

		//Lê a quantidade de bits por pixel (neste caso é aceito apenas 24 bits por pixel)
		bits_por_pixel = data[28];
		//Testa a quatidade de bits
		//Leandro (22/09/2020) - Ajuste para ler imagens com dimensões maiores que um byte (320x240)
//		if((bits_por_pixel != 24) || (largura > 128) || (altura > 128))
		if((bits_por_pixel != 24) || (largura > lim_largura) || (altura > lim_altura))
			erro_bits = 1;
		else
			erro_bits = 0;
	}

	//Se houver erro na quantidade de bits retorna e não envia para o LCD
	if(erro_bits)
	{
		return;
	}

	//Envia os pixels enquanto não acabar o setor ou o Bitmap
	while((i <= (512-3)) && (tamanho >= 3))	//24 bits por pixels
	{
		//Se completou uma linha
		if(pixels_por_linha == largura)
		{
			//Zera o contador
			pixels_por_linha = 0;
			//Verifica se tem bytes nulos para ignorar
			if(bytes_extras >= sobrou[0])
			{
				//Desconta os bytes_extras-sobrou[0] do tamanho do setor
				tamanho -= (bytes_extras-sobrou[0]);
				//Incrementa a posição do byte a ser lido do setor
				i += (bytes_extras-sobrou[0]);
				//Atualiza o valor da sobra
				sobrou[0] = 0;
				//Verifica se não cabe mais nenhum pixel, encerra o loop
				if((i>(512-3)) || (tamanho < 3))
					break;
			}
			else
			{
				//Atualiza o valor da sobra
				sobrou[0] -= bytes_extras;
			}
			//break;
			if(tamanho<3)
				break;
		}

		if(sobrou[0] == 0)			//Tamanho -= 3
		{
			//((r & 0xF8) << 8) | ((g & 0xFC) << 3) | (b >> 3);
			//Seguencia BGR (24 bits) --> RGB (565)
			cor = (data[i] >> 3) | ((data[i+1] & 0xFC) << 3) | ((data[i+2] & 0xF8) << 8);
			i += 3;
			tamanho -= 3;
		}
		else if(sobrou[0] == 1)	//Tamanho -= 2
		{
			//Sobrou a cor Azul
			cor = (sobrou[2] >> 3) | ((data[i] & 0xFC) << 3) | ((data[i+1] & 0xF8) << 8);
			i += 2;
			tamanho -= 2;
		}
		else if(sobrou[0] == 2)	//Tamanho -= 1
		{
			//Sobrou a cor Azul e Verde
			cor = (sobrou[1] >> 3) | ((sobrou[2] & 0xFC) << 3) | ((data[i] & 0xF8) << 8);
			i += 1;
			tamanho -= 1;
		}
		else
		{
			i = 512;
			setor = 0;
			tamanho = 0;
			break;
		}
		//Envia pixel 565 para o LCD
		tft_desenhaPixel(cor);

		sobrou[0] = 0;	//Sobra algum byte apenas no final do setor (i>= 510)

		//Incrementa o número de pixels enviados por linha e testa
		pixels_por_linha++;
	}
	//Se ainda não acabou o arquivo
	if(tamanho >= 3)
	{
		//Salva o número de bytes que sobraram para formar um pixel
		sobrou[0] = 512 - i;
		//Completa os 512 bytes do setor
		tamanho -= sobrou[0];
		//Salva o penúltimo byte
		sobrou[1] = data[510];
		//Salva o último byte
		sobrou[2] = data[511];
	}
	else
	{
		//Envia para o LCD sinalização de fim de envio de dados
		tft_fimDados();
	}
}

/* USER CODE END 4 */

void Error_Handler(void)
{
	 __disable_irq();
	 while (1)
	 {
	 }
}
